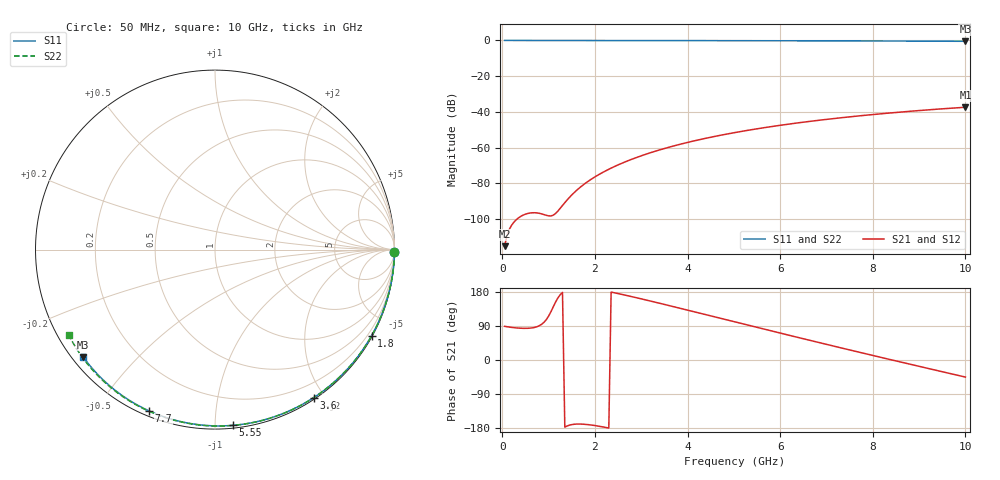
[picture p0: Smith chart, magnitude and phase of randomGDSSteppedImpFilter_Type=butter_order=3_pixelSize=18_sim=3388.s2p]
! freq	dB(S11)	phase(S11)	dB(S12)	phase(S12)
!  dB(S21)	phase(S21)	dB(S22)	phase(S22)
!S-par simulation data
#  GHz  S  DB  R 50
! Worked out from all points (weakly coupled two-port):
!   200 points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, 50 MHz to 10 GHz, reference 50 ohm
!   highest |S21| = -37.42 dB at 10 GHz (marker M1); lowest = -115.3 dB at 50 MHz (marker M2)
!   lowest |S11| = -0.5 dB at 10 GHz (marker M3), VSWR 36.61, Z = 1.54 - j17.8 ohm
!   |S11| at or under -10 dB: nowhere
!   |S22| runs from -0.5 to 0.0 dB; largest |S21 - S12| = 0
!   S11 on the Smith chart (normalised r, x): 50 MHz: open; 1.8 GHz: 0.03, -3.88; 3.6 GHz: 0.02, -1.87; 5.55 GHz: 0.02, -1.11; 7.7 GHz: 0.02, -0.67; 10 GHz: 0.03, -0.36
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0.05  -0.00 -0.8  -115.28 88.9  -115.28 88.9  -0.00 -0.9
0.45  -0.01 -7.3  -97.87 83.6  -97.87 83.6  -0.01 -7.7
0.9  -0.02 -14.6  -97.57 99.4  -97.57 99.4  -0.02 -15.4
1.3  -0.03 -21.0  -92.46 178.3  -92.46 178.3  -0.03 -22.2
1.75  -0.04 -28.1  -80.88 -169.4  -80.88 -169.4  -0.04 -29.7
1.8  -0.04 -28.9  -79.91 -169.9  -79.91 -169.9  -0.04 -30.5
1.95  -0.04 -31.2  -77.26 -172.1  -77.26 -172.1  -0.04 -33.0
2.1  -0.04 -33.6  -74.93 -175.0  -74.93 -175.0  -0.05 -35.5
2.3  -0.05 -36.7  -72.17 -179.6  -72.17 -179.6  -0.05 -38.7
2.5  -0.05 -39.8  -69.73 175.3  -69.73 175.3  -0.05 -42.0
2.9  -0.06 -45.9  -65.56 164.3  -65.56 164.3  -0.06 -48.5
3.4  -0.07 -53.4  -61.30 149.7  -61.30 149.7  -0.07 -56.4
3.6  -0.08 -56.4  -59.82 143.7  -59.82 143.7  -0.08 -59.5
4.3  -0.09 -66.6  -55.35 122.5  -55.35 122.5  -0.10 -70.3
5.05  -0.12 -77.2  -51.48 99.7  -51.48 99.7  -0.13 -81.5
5.55  -0.14 -84.1  -49.30 84.6  -49.30 84.6  -0.15 -88.7
6.1  -0.16 -91.5  -47.18 68.0  -47.18 68.0  -0.17 -96.6
6.7  -0.19 -99.4  -45.15 50.1  -45.15 50.1  -0.20 -104.9
7.7  -0.26 -112.2  -42.28 20.7  -42.28 20.7  -0.27 -118.6
8.35  -0.31 -120.4  -40.69 1.9  -40.69 1.9  -0.33 -127.4
9.2  -0.39 -131.0  -38.88 -22.4  -38.88 -22.4  -0.41 -138.8
10  -0.47 -140.8  -37.42 -45.0  -37.42 -45.0  -0.51 -149.7
